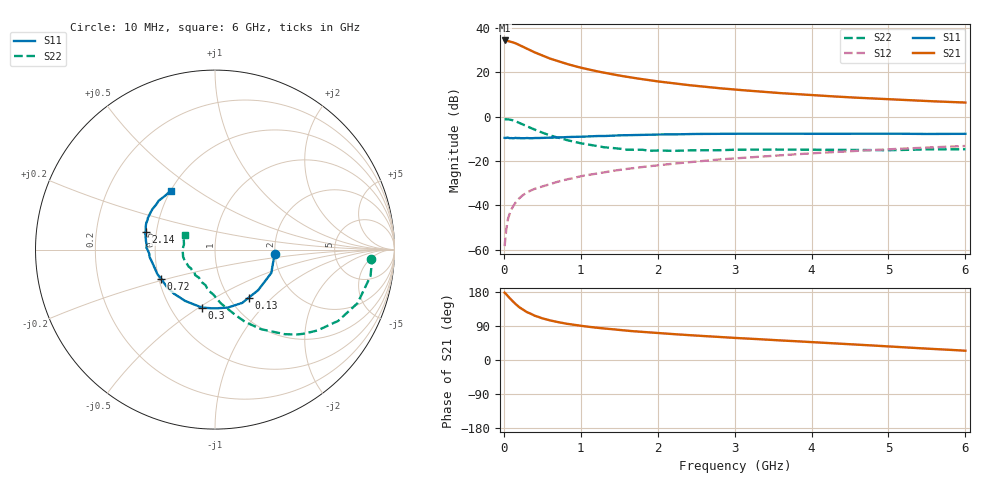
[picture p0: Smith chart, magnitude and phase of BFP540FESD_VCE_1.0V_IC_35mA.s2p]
! Infineon Technologies  Discrete & RF Semiconductors
! BFP540FESD
! VCE =  1.0 V,  IC =  35 mA
! Common Emitter S-Parameters:  Nov 2015
# GHz  S  MA  R  50
!  f  S11  S21  S12  S22
! GHz  MAG  ANG  MAG  ANG  MAG  ANG  MAG  ANG
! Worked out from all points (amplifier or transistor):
!   210 points, 10 MHz to 6 GHz, reference 50 ohm
!   highest |S21| = 34.4 dB at 10 MHz (marker M1)
!   |S21| within 3 dB of that: start of sweep to 257.5 MHz
!   unconditionally stable (mu >= 1): start of sweep to 21.04 MHz; 1.268 GHz to end of sweep
!   at 185 MHz: K = 0.43, MSG = 35.0 dB, |S12| = -37.4 dB
!   at 1.52 GHz: K = 1.03, MAG = 20.2 dB, |S12| = -23.9 dB
!   at 6 GHz: K = 1.16, MAG = 7.4 dB, |S12| = -13.2 dB
!   S11 on the Smith chart (normalised r, x): 10 MHz: 1.99, -0.12; 130 MHz: 1.22, -0.73; 300 MHz: 0.71, -0.51; 720 MHz: 0.51, -0.19; 2.14 GHz: 0.44, +0.10; 6 GHz: 0.50, +0.39
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0.01  0.3336 -4.6  52.66 177.7  0.0012 96.5  0.8722 -3.5
0.02  0.3313 -11.3  51.12 175.9  0.0018 103.8  0.8778 -2.9
0.05  0.3397 -22.4  51.28 169.1  0.0046 80.2  0.8789 -9.7
0.1  0.3301 -43.1  48.83 157.9  0.0083 82.4  0.8483 -20.6
0.13  0.3273 -55.1  46.79 152.1  0.0101 76.8  0.8127 -26.1
0.15  0.3334 -63.0  45.71 148.0  0.0114 74.1  0.7934 -30.0
0.2  0.3308 -77.4  41.64 139.4  0.0144 72.2  0.7279 -38.2
0.24  0.3272 -88.1  38.54 133.9  0.0166 70.0  0.6791 -43.7
0.3  0.3311 -102.8  34.33 126.3  0.0196 68.1  0.6096 -50.6
0.4  0.3308 -120.1  28.43 116.9  0.0236 66.0  0.5125 -59.9
0.5  0.3354 -132.8  24 109.9  0.0268 64.8  0.4366 -67.4
0.6  0.3396 -142.3  20.54 104.5  0.0299 64.6  0.3797 -72.9
0.72  0.3413 -151.4  17.55 99.4  0.0349 65.1  0.3312 -78.9
0.82  0.3489 -157.9  15.52 95.6  0.0385 65.2  0.2973 -84.3
1.02  0.3547 -166.9  12.57 89.7  0.0461 65.0  0.2485 -92.8
1.5  0.3822 178.5  8.509 79.2  0.0627 64.0  0.1912 -115.0
2.02  0.3982 167.2  6.221 70.8  0.0807 60.8  0.1735 -136.5
2.14  0.3987 165.9  5.862 69.2  0.0851 60.3  0.1708 -140.3
3.1  0.4133 153.7  3.978 57.3  0.1182 54.7  0.1802 -161.8
4.1  0.4143 146.1  3.004 46.1  0.1529 48.1  0.1799 -176.7
5.1  0.4138 137.7  2.438 34.6  0.1877 39.5  0.1768 168.4
6  0.4116 127.0  2.09 24.5  0.2186 31.7  0.1848 153.4
